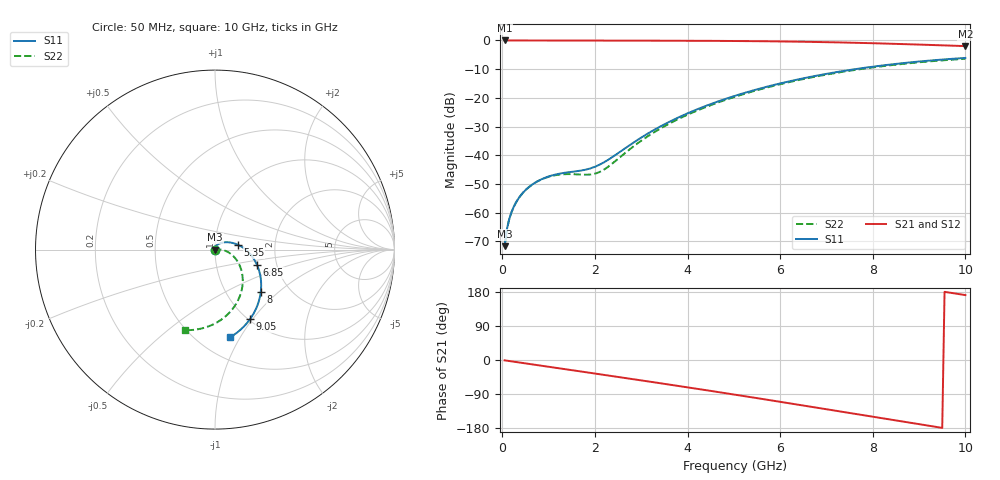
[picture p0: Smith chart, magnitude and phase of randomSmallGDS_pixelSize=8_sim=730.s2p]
! freq	dB(S11)	phase(S11)	dB(S12)	phase(S12)
!  dB(S21)	phase(S21)	dB(S22)	phase(S22)
!S-par simulation data
#  GHz  S  DB  R 50
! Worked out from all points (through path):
!   200 points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, 50 MHz to 10 GHz, reference 50 ohm
!   highest |S21| = 0.00 dB at 50 MHz (marker M1); lowest = -2.0 dB at 10 GHz (marker M2)
!   group delay of S21, straight-line fit = 52.7 ps
!   lowest |S11| = -71.7 dB at 50 MHz (marker M3), VSWR 1.00, Z = 50 - j0.0258 ohm
!   |S11| at or under -10 dB: start of sweep to 7.623 GHz
!   |S22| runs from -71.7 to -6.4 dB; largest |S21 - S12| = 0
!   S11 on the Smith chart (normalised r, x): 50 MHz: 1.00, -0.00; 5.35 GHz: 1.29, +0.07; 6.85 GHz: 1.58, -0.29; 8 GHz: 1.43, -0.78; 9.05 GHz: 1.02, -0.97; 10 GHz: 0.70, -0.91
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0.05  -71.71 -83.9  -0.00 -0.9  -0.00 -0.9  -71.72 -82.3
0.1  -65.76 -89.6  -0.00 -1.8  -0.00 -1.8  -65.77 -86.5
0.15  -62.27 -92.7  -0.00 -2.7  -0.00 -2.7  -62.28 -88.0
0.2  -59.81 -95.1  -0.00 -3.6  -0.00 -3.6  -59.81 -88.9
0.35  -55.09 -101.4  -0.01 -6.3  -0.01 -6.3  -55.08 -90.3
0.55  -51.46 -109.3  -0.01 -9.9  -0.01 -9.9  -51.45 -91.3
0.8  -48.76 -119.7  -0.02 -14.3  -0.02 -14.3  -48.79 -91.8
1.05  -47.16 -131.5  -0.02 -18.8  -0.02 -18.8  -47.31 -91.1
1.75  -45.21 178.8  -0.04 -31.2  -0.04 -31.2  -46.80 -70.9
2  -44.05 153.5  -0.04 -35.7  -0.04 -35.7  -46.44 -50.6
2.2  -42.45 133.3  -0.05 -39.3  -0.05 -39.3  -44.99 -32.0
2.9  -34.89 83.8  -0.06 -51.9  -0.06 -51.9  -36.11 -1.2
3.4  -30.10 63.2  -0.08 -61.1  -0.08 -61.1  -30.83 0.3
4.15  -24.38 40.8  -0.11 -74.9  -0.11 -74.9  -24.83 -6.3
5.05  -19.17 18.9  -0.19 -91.9  -0.19 -91.9  -19.50 -19.0
5.35  -17.73 12.1  -0.23 -97.7  -0.23 -97.7  -18.03 -23.8
6.7  -12.54 -16.9  -0.50 -124.0  -0.50 -124.0  -12.80 -47.5
6.85  -12.08 -20.0  -0.55 -127.0  -0.55 -127.0  -12.34 -50.3
8  -9.15 -43.1  -0.96 -149.8  -0.96 -149.8  -9.40 -72.1
8.35  -8.44 -49.9  -1.12 -156.7  -1.12 -156.7  -8.70 -78.8
9.05  -7.27 -63.1  -1.46 -170.4  -1.46 -170.4  -7.53 -92.2
10  -6.10 -80.2  -1.97 171.2  -1.97 171.2  -6.39 -110.7
